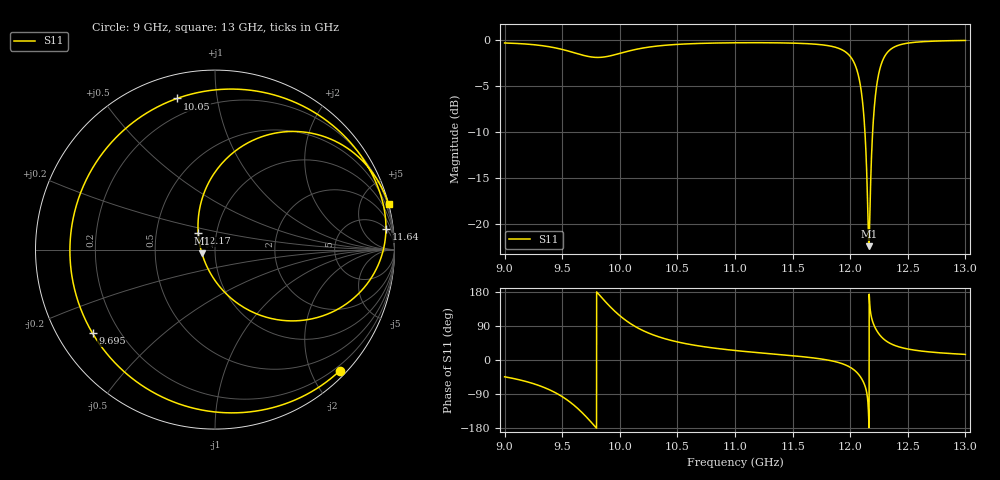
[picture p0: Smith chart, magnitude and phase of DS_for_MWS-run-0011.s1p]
! TOUCHSTONE file generated by CST DESIGN STUDIO
! Date and time: Tue Feb  4 18:03:10 2025
! Project name: C:\Work\MatlabApps\UnitCellOptimizationMatlab\CST\unitcell.cst
! Tree item: Tasks\Sweep1\SPara1\S-Parameters
! Header version: 2024
! Port assignment regex: !\s*Touchstone port\s*([0-9]+)\s*=\s*(CST MWS port|CST DES external port|CST DES block port)\s*(.+)\s* \(\"(.*)\"\)(\s*mode\s*([0-9]+))?.*
! Touchstone port assignment:
! Touchstone port 1 = CST DES external port 1 ("")
# GHz S MA R 50
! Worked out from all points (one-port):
!   4001 points, 9 GHz to 13 GHz, reference 50 ohm
!   lowest |S11| = -22.4 dB at 12.16 GHz (marker M1), VSWR 1.16, Z = 43.2 - j1.89 ohm
!   |S11| at or under -10 dB: 12.13 GHz to 12.19 GHz (66.56 MHz wide, 0.547 % of centre)
!   S11 on the Smith chart (normalised r, x): 9 GHz: 0.11, -2.45; 9.695 GHz: 0.10, -0.31; 10.05 GHz: 0.11, +0.77; 11.64 GHz: 5, +15; 12.17 GHz: 0.82, +0.15; 13 GHz: 0.00, +7.71
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9  0.9687 -44.3
9.274  0.9451 -64.8
9.5  0.8935 -96.7
9.601  0.8584 -119.0
9.695  0.8264 -145.7
9.767  0.8108 -169.3
9.835  0.8093 167.3
9.921  0.8254 139.2
10  0.8503 117.0
10.054  0.8683 104.1
10.261  0.9217 69.7
10.5  0.9519 47.7
11  0.9712 25.1
11.5  0.9671 11.3
11.643  0.9593 6.8
11.877  0.916 -4.9
12  0.8193 -19.2
12.052  0.7098 -31.1
12.099  0.5132 -49.2
12.13  0.3014 -69.8
12.149  0.1456 -97.1
12.162  0.07587 -163.4
12.173  0.131 135.5
12.208  0.4225 90.8
12.256  0.6939 66.2
12.353  0.897 42.9
12.5  0.9669 29.0
13  0.9999 14.8
